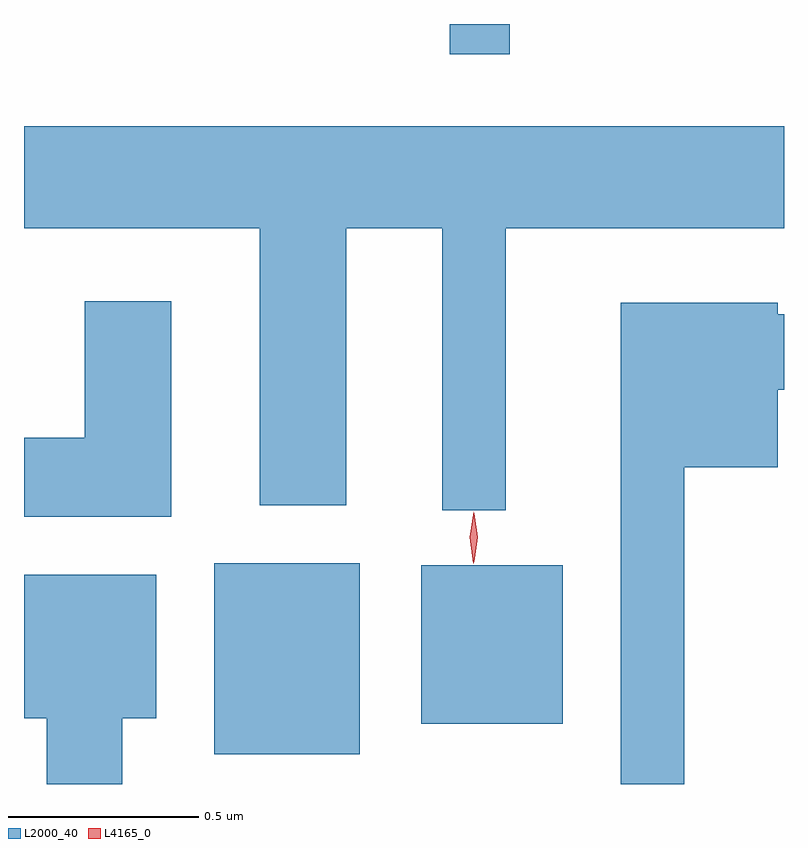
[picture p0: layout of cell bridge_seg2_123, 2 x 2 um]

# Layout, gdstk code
import gdstk
lib = gdstk.Library(unit=1e-6, precision=1e-09)
def R(c, l, rs):  # rectangles x0, y0, x1, y1
    for r in rs: c.add(gdstk.rectangle(r[:2], r[2:], *l))
def P(c, l, *ps):  # polygons
    for p in ps: c.add(gdstk.Polygon(p, *l))
L2000_40 = (2000, 40)
L4165_0 = (4165, 0)

bridge_seg2_123 = lib.new_cell('bridge_seg2_123')
R(bridge_seg2_123, L2000_40, [(908.871,1046.931,909.254,1047.434), (909.416,1047.011,909.789,1047.429), (909.491,1048.773,909.649,1048.853)])
P(bridge_seg2_123, L2000_40, [(909.639,1048.316),(910.371,1048.316),(910.371,1048.584),(908.371,1048.584),(908.371,1048.316),(908.991,1048.316),(908.991,1047.586),(909.219,1047.586),(909.219,1048.316),(909.471,1048.316),(909.471,1047.573),(909.639,1047.573)],
  [(908.759,1048.124),(908.531,1048.124),(908.531,1047.764),(908.371,1047.764),(908.371,1047.556),(908.759,1047.556)],
  [(910.109,1047.686),(910.354,1047.686),(910.354,1047.891),(910.371,1047.891),(910.371,1048.089),(910.354,1048.089),(910.354,1048.119),(909.941,1048.119),(909.941,1046.853),(910.109,1046.853)],
  [(908.629,1047.026),(908.719,1047.026),(908.719,1047.404),(908.371,1047.404),(908.371,1047.026),(908.431,1047.026),(908.431,1046.853),(908.629,1046.853)])
P(bridge_seg2_123, L4165_0, [(909.553,1047.434),(909.544,1047.502),(909.554,1047.57),(909.555,1047.57),(909.555,1047.57),(909.564,1047.502),(909.554,1047.434),(909.554,1047.434)],
  [(909.556,1047.438),(909.556,1047.438),(909.546,1047.502),(909.555,1047.566),(909.555,1047.567),(909.556,1047.566),(909.565,1047.502),(909.556,1047.438)])

lib.write_gds('bridge_seg2_123.gds')
